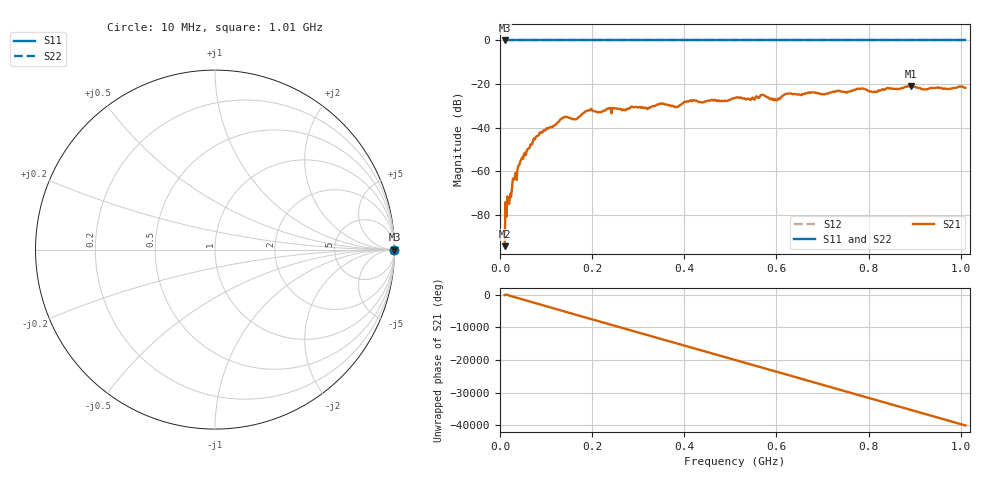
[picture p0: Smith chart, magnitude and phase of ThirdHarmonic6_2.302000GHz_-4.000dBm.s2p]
! 8/17/2025 3:07:54 AM
! C:\ANRITSUVNA\TEMP\TEMP.S2P
! CHANNEL.1
! TR.MEASUREMENT
! RAW.DATA
! RF.CORRECTION.OFF
! AVERAGING.OFF
! IF.BANDWIDTH: 5KHZ
! SWEEPTYPE:  FREQ.SWEEP(Linear)
! Reference Plane Port Info
! PORT:  PORT1  PORT2
! DISTANCE:  0  m  0  m
! TIME:  0  s  0  s
! PHASE.OFFSET:  0  deg.  0  deg.
! LOSS:  0  dB  0  dB
! REF.LOSS:  0  dB  0  dB
! REF.FREQ:  0  Hz  0  Hz
! Power Info
! POWER:  -20  dBm  -20  dBm
! EFF.POWER:  -20  dBm  -20  dBm
! SOURCE.ATTEN:  0  dB  0  dB
! TEST.ATTEN:  0  dB  0  dB
# GHZ S RI R 50.0
! FREQ.GHZ  S11RE  S11IM  S21RE  S21IM  S12RE  S12IM  S22RE  S22IM
!; PortSelection: Port_12
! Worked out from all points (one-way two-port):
!   501 points, 10 MHz to 1.01 GHz, reference 50 ohm
!   highest |S21| = -20.87 dB at 892 MHz (marker M1); lowest = -94.3 dB at 10 MHz (marker M2)
!   lowest |S11| = 0.0 dB at 10 MHz (marker M3)
!   |S11| at or under -10 dB: nowhere
!   |S22| runs from 0.0 to 0.0 dB; largest |S21 - S12| = 1.1
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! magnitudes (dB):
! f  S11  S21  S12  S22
! 10 MHz  0.0  -94.3  0.0  0.0
! 22 MHz  0.0  -70.3  0.0  0.0
! 30 MHz  0.0  -63.9  0.0  0.0
! 44 MHz  0.0  -55.4  0.0  0.0
! 76 MHz  0.0  -45.3  0.0  0.0
! 136 MHz  0.0  -35.7  0.0  0.0
! 162 MHz  0.0  -36.1  0.0  0.0
! 178 MHz  0.0  -33.8  0.0  0.0
! 194 MHz  0.0  -32.1  0.0  0.0
! 322 MHz  0.0  -31.0  0.0  0.0
! 344 MHz  0.0  -29.4  0.0  0.0
! 382 MHz  0.0  -30.4  0.0  0.0
! 416 MHz  0.0  -27.8  0.0  0.0
! 510 MHz  0.0  -26.4  0.0  0.0
! 570 MHz  0.0  -24.9  0.0  0.0
! 598 MHz  0.0  -27.3  0.0  0.0
! 622 MHz  0.0  -24.4  0.0  0.0
! 678 MHz  0.0  -23.8  0.0  0.0
! 814 MHz  0.0  -23.5  0.0  0.0
! 844 MHz  0.0  -22.0  0.0  0.0
! 892 MHz  0.0  -20.9  0.0  0.0
! 1.01 GHz  0.0  -21.7  0.0  0.0
